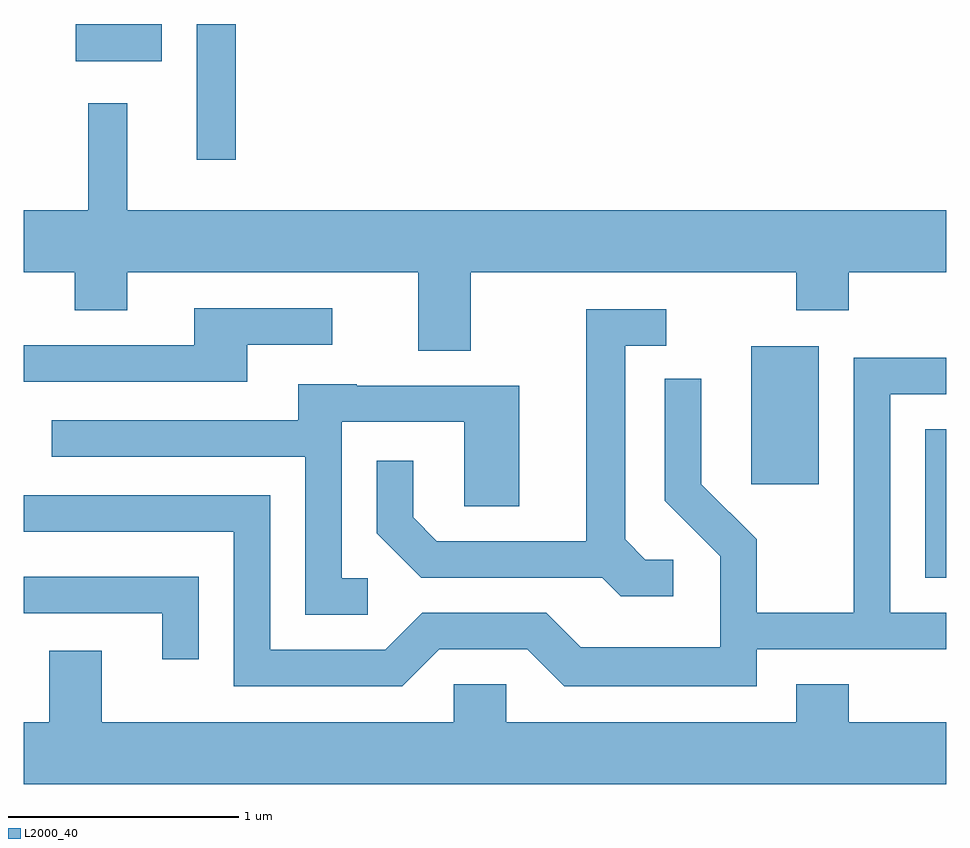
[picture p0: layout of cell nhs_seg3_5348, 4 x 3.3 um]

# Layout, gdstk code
import gdstk
lib = gdstk.Library(unit=1e-6, precision=1e-09)
def R(c, l, rs):  # rectangles x0, y0, x1, y1
    for r in rs: c.add(gdstk.rectangle(r[:2], r[2:], *l))
def P(c, l, *ps):  # polygons
    for p in ps: c.add(gdstk.Polygon(p, *l))
L2000_40 = (2000, 40)

nhs_seg3_5348 = lib.new_cell('nhs_seg3_5348')
R(nhs_seg3_5348, L2000_40, [(345.521,1213.491,345.611,1214.134), (344.766,1213.896,345.059,1214.494), (342.361,1215.303,342.529,1215.892), (341.836,1215.731,342.209,1215.892)])
P(nhs_seg3_5348, L2000_40, [(343.549,1214.816),(344.961,1214.816),(344.961,1214.651),(345.189,1214.651),(345.189,1214.816),(345.611,1214.816),(345.611,1215.084),(342.059,1215.084),(342.059,1215.548),(341.891,1215.548),(341.891,1215.084),(341.611,1215.084),(341.611,1214.816),(341.831,1214.816),(341.831,1214.651),(342.059,1214.651),(342.059,1214.816),(343.321,1214.816),(343.321,1214.476),(343.549,1214.476)],
  [(342.579,1214.501),(342.948,1214.501),(342.948,1214.659),(342.351,1214.659),(342.351,1214.499),(341.611,1214.499),(341.611,1214.341),(342.579,1214.341)],
  [(344.428,1213.569),(344.307,1213.569),(344.219,1213.657),(344.219,1214.496),(344.398,1214.496),(344.398,1214.654),(344.051,1214.654),(344.051,1213.649),(343.402,1213.649),(343.299,1213.752),(343.299,1213.998),(343.141,1213.998),(343.141,1213.684),(343.334,1213.491),(344.119,1213.491),(344.199,1213.411),(344.428,1213.411)],
  [(343.412,1213.181),(343.794,1213.181),(343.954,1213.021),(344.789,1213.021),(344.789,1213.181),(345.611,1213.181),(345.611,1213.339),(345.369,1213.339),(345.369,1214.286),(345.611,1214.286),(345.611,1214.444),(345.211,1214.444),(345.211,1213.339),(344.789,1213.339),(344.789,1213.657),(344.549,1213.897),(344.549,1214.353),(344.391,1214.353),(344.391,1213.824),(344.631,1213.584),(344.631,1213.189),(344.027,1213.189),(343.877,1213.339),(343.339,1213.339),(343.179,1213.179),(342.679,1213.179),(342.679,1213.849),(341.611,1213.849),(341.611,1213.691),(342.521,1213.691),(342.521,1213.021),(343.252,1213.021)],
  [(343.103,1213.489),(342.989,1213.489),(342.989,1214.166),(343.521,1214.166),(343.521,1213.801),(343.759,1213.801),(343.759,1214.324),(343.055,1214.324),(343.055,1214.329),(342.801,1214.329),(342.801,1214.174),(341.733,1214.174),(341.733,1214.016),(342.831,1214.016),(342.831,1213.331),(343.103,1213.331)],
  [(342.369,1213.494),(341.611,1213.494),(341.611,1213.336),(342.211,1213.336),(342.211,1213.138),(342.369,1213.138)],
  [(345.611,1212.864),(345.189,1212.864),(345.189,1213.029),(344.961,1213.029),(344.961,1212.864),(343.704,1212.864),(343.704,1213.029),(343.476,1213.029),(343.476,1212.864),(341.949,1212.864),(341.949,1213.174),(341.721,1213.174),(341.721,1212.864),(341.611,1212.864),(341.611,1212.596),(345.611,1212.596)])

lib.write_gds('nhs_seg3_5348.gds')
